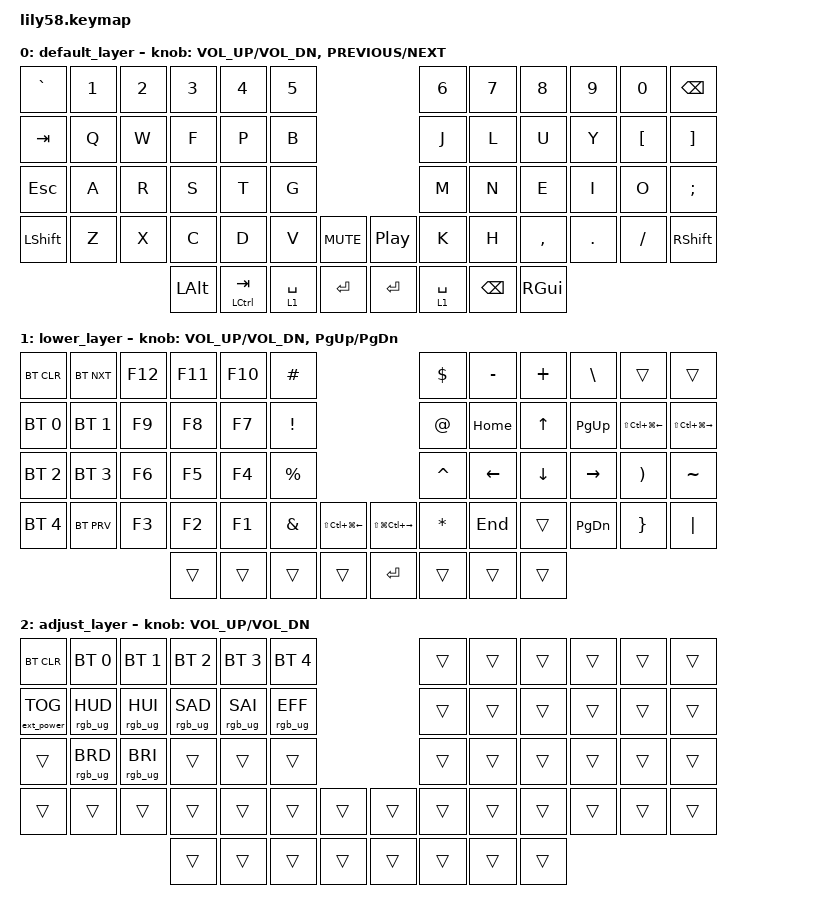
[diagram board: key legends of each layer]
/*
 * Copyright (c) 2020 The ZMK Contributors
 *
 * SPDX-License-Identifier: MIT
 */

#include <behaviors.dtsi>
#include <dt-bindings/zmk/bt.h>
#include <dt-bindings/zmk/ext_power.h>
#include <dt-bindings/zmk/keys.h>
#include <dt-bindings/zmk/rgb.h>

/ {
    // Activate ADJUST layer by pressing raise and lower

    conditional_layers {
        compatible = "zmk,conditional-layers";

        adjust_layer {
            if-layers = <1 2>;
            then-layer = <3>;
        };
    };

    combos {
        compatible = "zmk,combos";

        backslash_combo {
            bindings = <&kp BACKSLASH>;
            key-positions = <22 23>;
        };
    };

    keymap {
        compatible = "zmk,keymap";

        default_layer {
            // ------------------------------------------------------------------------------------------------------------
            // |  ESC  |  1  |  2  |  3   |  4   |  5   |                   |  6   |  7    |  8    |  9   |   0   |   `   |
            // |  TAB  |  Q  |  W  |  E   |  R   |  T   |                   |  Y   |  U    |  I    |  O   |   P   |   -   |
            // |  CTRL |  A  |  S  |  D   |  F   |  G   |                   |  H   |  J    |  K    |  L   |   ;   |   '   |
            // | SHIFT |  Z  |  X  |  C   |  V   |  B   |  MUTE  |  |RGB_TOG|  N   |  M    |  ,    |  .   |   /   | SHIFT |
            //                     | ALT  | GUI  | LOWER|  SPACE |  | ENTER | RAISE| BSPC  | GUI   |

            bindings = <
&kp GRAVE  &kp N1  &kp N2  &kp N3    &kp N4         &kp N5                                       &kp N6       &kp N7    &kp N8     &kp N9   &kp N0            &kp BACKSPACE
&kp TAB    &kp Q   &kp W   &kp F     &kp P          &kp B                                        &kp J        &kp L     &kp U      &kp Y    &kp LEFT_BRACKET  &kp RIGHT_BRACKET
&kp ESC    &kp A   &kp R   &kp S     &kp T          &kp G                                        &kp M        &kp N     &kp E      &kp I    &kp O             &kp SEMICOLON
&kp LSHFT  &kp Z   &kp X   &kp C     &kp D          &kp V        &kp C_MUTE    &kp C_PLAY_PAUSE  &kp K        &kp H     &kp COMMA  &kp DOT  &kp FSLH          &kp RSHFT
                           &kp LALT  &mt LCTRL TAB  &lt 1 SPACE  &kp ENTER     &kp RET           &lt 1 SPACE  &kp BSPC  &kp RGUI
            >;

            sensor-bindings =
                <&inc_dec_kp C_VOL_UP C_VOL_DN>,
                <&inc_dec_kp C_PREVIOUS C_NEXT>;
        };

        lower_layer {
            // ------------------------------------------------------------------------------------------------------------
            // | BTCLR | BT1 | BT2 |  BT3 |  BT4 |  BT5 |                   |      |       |       |      |       |       |
            // |  F1   |  F2 |  F3 |  F4  |  F5  |  F6  |                   |  F7  |  F8   |  F9   |  F10 |  F11  |  F12  |
            // |   `   |  !  |  @  |  #   |  $   |  %   |                   |  ^   |  &    |  *    |  (   |   )   |   ~   |
            // |EXTPWR |     |     |      |      |      |        |  |       |      |  _    |  +    |  {   |   }   |  "|"  |
            //                     |      |      |      |        |  |       |      |       |       |

            bindings = <
&bt BT_CLR    &bt BT_NXT    &kp F12  &kp F11  &kp F10  &kp HASH                                                    &kp DOLLAR    &kp MINUS  &kp PLUS      &kp BACKSLASH  &trans                &trans
&bt BT_SEL 0  &bt BT_SEL 1  &kp F9   &kp F8   &kp F7   &kp EXCL                                                    &kp AT_SIGN   &kp HOME   &kp UP_ARROW  &kp PAGE_UP    &kp LS(LC(LG(LEFT)))  &kp LS(LC(LG(RIGHT)))
&bt BT_SEL 2  &bt BT_SEL 3  &kp F6   &kp F5   &kp F4   &kp PERCENT                                                 &kp CARET     &kp LEFT   &kp DOWN      &kp RIGHT      &kp RPAR              &kp TILDE
&bt BT_SEL 4  &bt BT_PRV    &kp F3   &kp F2   &kp F1   &kp AMPS     &kp LS(LC(LG(LEFT)))    &kp LS(LG(LC(RIGHT)))  &kp ASTERISK  &kp END    &trans        &kp PAGE_DOWN  &kp RBRC              &kp PIPE
                                     &trans   &trans   &trans       &trans                  &kp ENTER              &trans        &trans     &trans
            >;

            sensor-bindings = <&inc_dec_kp C_VOL_UP C_VOL_DN &inc_dec_kp PG_UP PG_DN>;
        };

        adjust_layer {
            // ----------------------------------------------------------------------------------------------------------------------------
            // | BTCLR  |  BT1    |  BT2    |   BT3   |   BT4   |   BT5   |                  |      |      |       |      |       |       |
            // | EXTPWR | RGB_HUD | RGB_HUI | RGB_SAD | RGB_SAI | RGB_EFF |                  |      |      |       |      |       |       |
            // |        | RGB_BRD | RGB_BRI |         |         |         |                  |      |      |       |      |       |       |
            // |        |         |         |         |         |         | RGB_TOG | |      |      |      |       |      |       |       |
            //                    |         |         |         |         |         | |      |      |      |       |      |

            bindings = <
&bt BT_CLR         &bt BT_SEL 0     &bt BT_SEL 1     &bt BT_SEL 2     &bt BT_SEL 3     &bt BT_SEL 4                       &trans  &trans  &trans  &trans  &trans  &trans
&ext_power EP_TOG  &rgb_ug RGB_HUD  &rgb_ug RGB_HUI  &rgb_ug RGB_SAD  &rgb_ug RGB_SAI  &rgb_ug RGB_EFF                    &trans  &trans  &trans  &trans  &trans  &trans
&trans             &rgb_ug RGB_BRD  &rgb_ug RGB_BRI  &trans           &trans           &trans                             &trans  &trans  &trans  &trans  &trans  &trans
&trans             &trans           &trans           &trans           &trans           &trans           &trans    &trans  &trans  &trans  &trans  &trans  &trans  &trans
                                                     &trans           &trans           &trans           &trans    &trans  &trans  &trans  &trans
            >;

            sensor-bindings = <&inc_dec_kp C_VOL_UP C_VOL_DN>;
        };
    };
};
